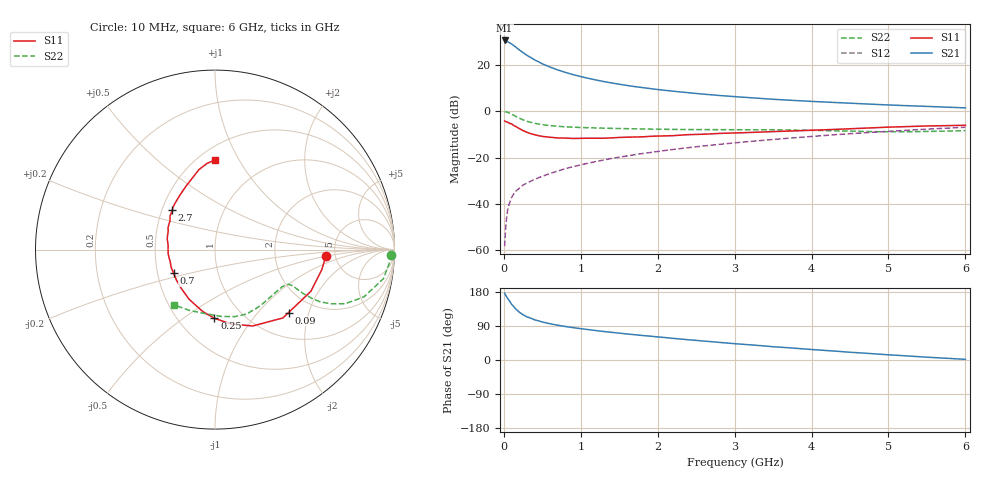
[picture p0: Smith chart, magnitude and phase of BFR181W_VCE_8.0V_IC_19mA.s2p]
! Infineon Technologies  Discrete & RF Semiconductors
! BFR181W
! VCE =  8.0 V,  IC =  19 mA
! Common Emitter S-Parameters:  Jan 2017
# GHz  S  MA  R  50
!  f  S11  S21  S12  S22
! GHz  MAG  ANG  MAG  ANG  MAG  ANG  MAG  ANG
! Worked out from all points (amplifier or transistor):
!   77 points, 10 MHz to 6 GHz, reference 50 ohm
!   highest |S21| = 30.7 dB at 10 MHz (marker M1)
!   |S21| within 3 dB of that: start of sweep to 160.1 MHz
!   unconditionally stable (mu >= 1): 814.2 MHz to 2.46 GHz
!   at 130 MHz: K = 0.38, MSG = 32.1 dB, |S12| = -35.7 dB
!   at 2.2 GHz: K = 1.02, MAG = 11.7 dB, |S12| = -16.5 dB
!   at 6 GHz: K = 0.82, MSG = 4.2 dB, |S12| = -6.9 dB
!   S11 on the Smith chart (normalised r, x): 10 MHz: 4.19, -0.50; 90 MHz: 1.50, -1.49; 250 MHz: 0.74, -0.66; 700 MHz: 0.61, -0.17; 2.7 GHz: 0.57, +0.28; 6 GHz: 0.60, +0.80
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0.01  0.619 -3.4  34.34 176.1  0.0012 82.8  0.9825 -1.6
0.02  0.6052 -10.7  33.64 172.1  0.0023 88.8  0.9787 -3.6
0.05  0.5826 -23.5  32.4 162.5  0.0074 81.1  0.9524 -9.8
0.09  0.5394 -40.6  29.41 150.6  0.0123 74.0  0.8857 -15.9
0.1  0.5368 -45.2  28.89 147.3  0.0135 73.0  0.8708 -17.6
0.15  0.4746 -63.7  25.06 135.6  0.0183 69.1  0.7851 -22.6
0.2  0.4244 -77.7  21.53 126.4  0.0215 66.8  0.7118 -25.1
0.25  0.3827 -90.5  18.71 119.4  0.0253 65.2  0.6537 -26.4
0.3  0.3519 -101.2  16.35 114.0  0.0279 65.4  0.6086 -26.7
0.4  0.312 -117.6  13.03 106.0  0.0335 66.1  0.5497 -26.5
0.5  0.2866 -130.8  10.72 100.3  0.0391 66.7  0.5142 -25.9
0.6  0.2743 -141.3  9.11 95.7  0.0451 67.6  0.4908 -25.3
0.7  0.2655 -150.3  7.898 91.8  0.0509 70.2  0.4747 -25.0
0.9  0.2587 -164.7  6.243 85.4  0.0633 70.9  0.4538 -25.3
1.1  0.2619 -175.5  5.18 80.2  0.0756 71.8  0.4418 -26.4
1.5  0.272 168.0  3.867 70.9  0.1014 72.0  0.4243 -30.1
2.1  0.2942 150.0  2.849 59.1  0.1422 70.3  0.408 -38.9
2.7  0.3257 136.9  2.281 48.3  0.185 67.4  0.4014 -49.8
3.1  0.3444 129.1  2.029 41.6  0.215 64.9  0.3993 -57.2
4.1  0.3947 112.9  1.613 26.3  0.294 57.8  0.3853 -75.7
5.1  0.4599 100.0  1.355 12.5  0.3775 48.9  0.3605 -101.4
6  0.499 89.8  1.19 1.7  0.4528 39.7  0.3831 -126.3
